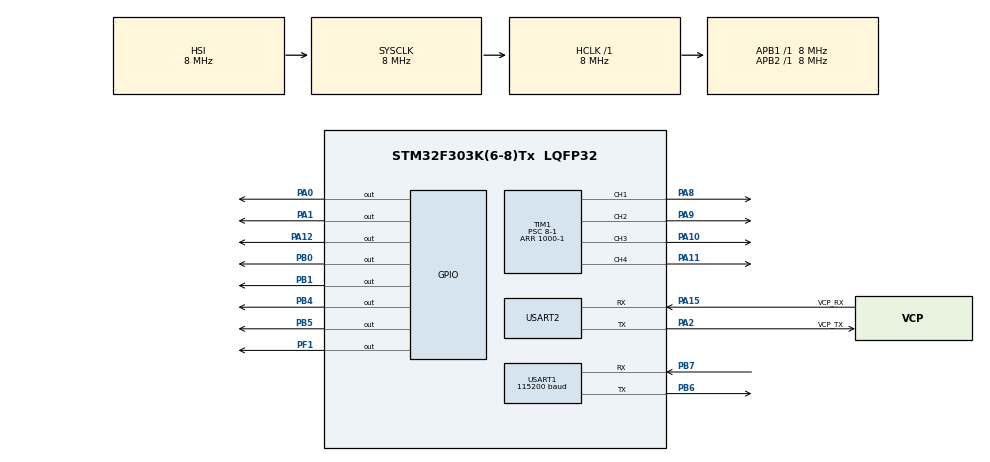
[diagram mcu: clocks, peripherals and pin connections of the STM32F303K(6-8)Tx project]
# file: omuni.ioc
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Dma.Request0=USART1_RX
Dma.USART1_RX.0.Direction=DMA_PERIPH_TO_MEMORY
Dma.USART1_RX.0.Instance=DMA1_Channel5
Dma.USART1_RX.0.MemDataAlignment=DMA_MDATAALIGN_BYTE
Dma.USART1_RX.0.MemInc=DMA_MINC_ENABLE
Dma.USART1_RX.0.Mode=DMA_CIRCULAR
Dma.USART1_RX.0.PeriphDataAlignment=DMA_PDATAALIGN_BYTE
Dma.USART1_RX.0.PeriphInc=DMA_PINC_DISABLE
Dma.USART1_RX.0.Priority=DMA_PRIORITY_LOW
Mcu.Family=STM32F3
Mcu.Name=STM32F303K(6-8)Tx
Mcu.Package=LQFP32
NVIC.DMA1_Channel5_IRQn=true\:0\:0\:false\:false\:true\:false\:true\:true
NVIC.PriorityGroup=NVIC_PRIORITYGROUP_4
PA0.Signal=GPIO_Output
PA1.Signal=GPIO_Output
PA10.Signal=S_TIM1_CH3
PA11.Signal=S_TIM1_CH4
PA12.Signal=GPIO_Output
PA13.GPIO_Label=SWDIO
PA13.Mode=Serial_Wire
PA13.Signal=SYS_JTMS-SWDIO
PA14.GPIO_Label=SWCLK
PA14.Mode=Serial_Wire
PA14.Signal=SYS_JTCK-SWCLK
PA15.GPIO_Label=VCP_RX
PA15.Mode=Asynchronous
PA15.Signal=USART2_RX
PA2.GPIO_Label=VCP_TX
PA2.Mode=Asynchronous
PA2.Signal=USART2_TX
PA8.Signal=S_TIM1_CH1
PA9.Signal=S_TIM1_CH2
PB0.Signal=GPIO_Output
PB1.Signal=GPIO_Output
PB4.Signal=GPIO_Output
PB5.Signal=GPIO_Output
PB6.Mode=Asynchronous
PB6.Signal=USART1_TX
PB7.Mode=Asynchronous
PB7.Signal=USART1_RX
PF0\ /\ OSC_IN.GPIO_Label=MCO
PF0\ /\ OSC_IN.Mode=HSE-External-Clock-Source
PF0\ /\ OSC_IN.Signal=RCC_OSC_IN
PF1\ /\ OSC_OUT.Signal=GPIO_Output
ProjectManager.HeapSize=0x200
ProjectManager.StackSize=0x400
ProjectManager.TargetToolchain=STM32CubeIDE
RCC.AHBFreq_Value=8000000
RCC.APB1Freq_Value=8000000
RCC.APB2Freq_Value=8000000
RCC.CortexFreq_Value=8000000
RCC.HSE_VALUE=8000000
RCC.HSI_VALUE=8000000
RCC.SYSCLKFreq_VALUE=8000000
SH.S_TIM1_CH1.0=TIM1_CH1,PWM Generation1 CH1
SH.S_TIM1_CH2.0=TIM1_CH2,PWM Generation2 CH2
SH.S_TIM1_CH3.0=TIM1_CH3,PWM Generation3 CH3
SH.S_TIM1_CH4.0=TIM1_CH4,PWM Generation4 CH4
TIM1.Channel-PWM\ Generation1\ CH1=TIM_CHANNEL_1
TIM1.Channel-PWM\ Generation2\ CH2=TIM_CHANNEL_2
TIM1.Channel-PWM\ Generation3\ CH3=TIM_CHANNEL_3
TIM1.Channel-PWM\ Generation4\ CH4=TIM_CHANNEL_4
TIM1.Period=1000-1
TIM1.Prescaler=8-1
USART1.BaudRate=115200
USART1.VirtualMode-Asynchronous=VM_ASYNC
USART2.VirtualMode-Asynchronous=VM_ASYNC
board=NUCLEO-F303K8

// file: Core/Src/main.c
/* USER CODE BEGIN Header */
/**
 ******************************************************************************
 * @file           : main.c
 * @brief          : Main program body
 ******************************************************************************
 * @attention
 *
 * Copyright (c) 2024 STMicroelectronics.
 * All rights reserved.
 *
 * This software is licensed under terms that can be found in the LICENSE file
 * in the root directory of this software component.
 * If no LICENSE file comes with this software, it is provided AS-IS.
 *
 ******************************************************************************
 */
/* USER CODE END Header */
#include "main.h"
#include<math.h>

/* USER CODE BEGIN Includes */
#include "uart.h"
/* USER CODE END Includes */

TIM_HandleTypeDef htim1;

UART_HandleTypeDef huart1;
UART_HandleTypeDef huart2;
DMA_HandleTypeDef hdma_usart1_rx;

void SystemClock_Config(void);
static void MX_GPIO_Init(void);
static void MX_DMA_Init(void);
static void MX_USART2_UART_Init(void);
static void MX_TIM1_Init(void);
static void MX_USART1_UART_Init(void);

int main(void) {

	/* MCU Configuration--------------------------------------------------------*/

	/* Reset of all peripherals, Initializes the Flash interface and the Systick. */
	HAL_Init();

	/* Configure the system clock */
	SystemClock_Config();

	/* Initialize all configured peripherals */
	MX_GPIO_Init();
	MX_DMA_Init();
	MX_USART2_UART_Init();
	MX_TIM1_Init();
	MX_USART1_UART_Init();
	/* USER CODE BEGIN 2 */
	struct Uart uart1 = { &huart1 };
	uart_init(&uart1);
	/* USER CODE END 2 */

	/* Infinite loop */
	/* USER CODE BEGIN WHILE */
	HAL_TIM_PWM_Start(&htim1, TIM_CHANNEL_1);
	HAL_TIM_PWM_Start(&htim1, TIM_CHANNEL_2);
	HAL_TIM_PWM_Start(&htim1, TIM_CHANNEL_3);
	HAL_TIM_PWM_Start(&htim1, TIM_CHANNEL_4);

	double A = 450;
	double B = A * (M_PI / 180);
	double vx = cos(B);
	double vy = sin(B);
	double v1 = ( vx + vy ) * 400;
	double v2 = ( -vx + vy ) * 400;
	double v3 = ( -vx -vy ) * 400;
	double v4 = ( vx -vy ) * 400;
	double zv1 ;
	double zv2 ;
	double zv3 ;
	double zv4 ;

	// V1
	if (v1 > 0) {
	HAL_GPIO_WritePin(GPIOB, GPIO_PIN_4, SET);
	HAL_GPIO_WritePin(GPIOB, GPIO_PIN_5, RESET);
	__HAL_TIM_SET_COMPARE(&htim1, TIM_CHANNEL_1, v1);
	} else if (v1 <= 0) {
	zv1 =fabs( v1 );
	HAL_GPIO_WritePin(GPIOB, GPIO_PIN_4, RESET);
	HAL_GPIO_WritePin(GPIOB, GPIO_PIN_5, SET);
	__HAL_TIM_SET_COMPARE(&htim1, TIM_CHANNEL_1, zv1);
	}
	// V2
	if (v2 > 0) {
	HAL_GPIO_WritePin(GPIOA, GPIO_PIN_1, RESET);
	HAL_GPIO_WritePin(GPIOA, GPIO_PIN_0, SET);
	__HAL_TIM_SET_COMPARE(&htim1, TIM_CHANNEL_4, v2);
	} else if (v2 <= 0) {
	zv2 =fabs( v2 );
	HAL_GPIO_WritePin(GPIOA, GPIO_PIN_1, SET);
	HAL_GPIO_WritePin(GPIOA, GPIO_PIN_0, RESET);
	__HAL_TIM_SET_COMPARE(&htim1, TIM_CHANNEL_4, zv2);
	}
	// V3
	if (v3 > 0) {
	HAL_GPIO_WritePin(GPIOB, GPIO_PIN_0, SET);
	HAL_GPIO_WritePin(GPIOA, GPIO_PIN_12, RESET);
	__HAL_TIM_SET_COMPARE(&htim1, TIM_CHANNEL_3, v3);
	} else if (v3 <= 0) {
	zv3 =fabs( v3 );
	HAL_GPIO_WritePin(GPIOB, GPIO_PIN_0, RESET);
	HAL_GPIO_WritePin(GPIOA, GPIO_PIN_12, SET);
	__HAL_TIM_SET_COMPARE(&htim1, TIM_CHANNEL_3, zv3);
	}
	// V4
	if (v4 > 0) {
	HAL_GPIO_WritePin(GPIOB, GPIO_PIN_1, RESET);
	HAL_GPIO_WritePin(GPIOF, GPIO_PIN_1, SET);
	__HAL_TIM_SET_COMPARE(&htim1, TIM_CHANNEL_2, v4);
	} else if (v4 <= 0) {
	zv4 =fabs( v4 );
	HAL_GPIO_WritePin(GPIOB, GPIO_PIN_1, SET);
	HAL_GPIO_WritePin(GPIOF, GPIO_PIN_1, RESET);
	__HAL_TIM_SET_COMPARE(&htim1, TIM_CHANNEL_2, zv4);
	}

	}
	/* USER CODE END WHILE */

void SystemClock_Config(void) {
	RCC_OscInitTypeDef RCC_OscInitStruct = { 0 };
	RCC_ClkInitTypeDef RCC_ClkInitStruct = { 0 };
	RCC_PeriphCLKInitTypeDef PeriphClkInit = { 0 };

	/** Initializes the RCC Oscillators according to the specified parameters
	 * in the RCC_OscInitTypeDef structure.
	 */
	RCC_OscInitStruct.OscillatorType = RCC_OSCILLATORTYPE_HSI;
	RCC_OscInitStruct.HSIState = RCC_HSI_ON;
	RCC_OscInitStruct.HSICalibrationValue = RCC_HSICALIBRATION_DEFAULT;
	RCC_OscInitStruct.PLL.PLLState = RCC_PLL_NONE;
	if (HAL_RCC_OscConfig(&RCC_OscInitStruct) != HAL_OK) {
		Error_Handler();
	}

	/** Initializes the CPU, AHB and APB buses clocks
	 */
	RCC_ClkInitStruct.ClockType = RCC_CLOCKTYPE_HCLK | RCC_CLOCKTYPE_SYSCLK
			| RCC_CLOCKTYPE_PCLK1 | RCC_CLOCKTYPE_PCLK2;
	RCC_ClkInitStruct.SYSCLKSource = RCC_SYSCLKSOURCE_HSI;
	RCC_ClkInitStruct.AHBCLKDivider = RCC_SYSCLK_DIV1;
	RCC_ClkInitStruct.APB1CLKDivider = RCC_HCLK_DIV1;
	RCC_ClkInitStruct.APB2CLKDivider = RCC_HCLK_DIV1;

	if (HAL_RCC_ClockConfig(&RCC_ClkInitStruct, FLASH_LATENCY_0) != HAL_OK) {
		Error_Handler();
	}
	PeriphClkInit.PeriphClockSelection = RCC_PERIPHCLK_USART1
			| RCC_PERIPHCLK_TIM1;
	PeriphClkInit.Usart1ClockSelection = RCC_USART1CLKSOURCE_PCLK1;
	PeriphClkInit.Tim1ClockSelection = RCC_TIM1CLK_HCLK;
	if (HAL_RCCEx_PeriphCLKConfig(&PeriphClkInit) != HAL_OK) {
		Error_Handler();
	}
}

static void MX_TIM1_Init(void) {

	TIM_MasterConfigTypeDef sMasterConfig = { 0 };
	TIM_OC_InitTypeDef sConfigOC = { 0 };
	TIM_BreakDeadTimeConfigTypeDef sBreakDeadTimeConfig = { 0 };

	htim1.Instance = TIM1;
	htim1.Init.Prescaler = 8 - 1;
	htim1.Init.CounterMode = TIM_COUNTERMODE_UP;
	htim1.Init.Period = 1000 - 1;
	htim1.Init.ClockDivision = TIM_CLOCKDIVISION_DIV1;
	htim1.Init.RepetitionCounter = 0;
	htim1.Init.AutoReloadPreload = TIM_AUTORELOAD_PRELOAD_DISABLE;
	if (HAL_TIM_PWM_Init(&htim1) != HAL_OK) {
		Error_Handler();
	}
	sMasterConfig.MasterOutputTrigger = TIM_TRGO_RESET;
	sMasterConfig.MasterOutputTrigger2 = TIM_TRGO2_RESET;
	sMasterConfig.MasterSlaveMode = TIM_MASTERSLAVEMODE_DISABLE;
	if (HAL_TIMEx_MasterConfigSynchronization(&htim1, &sMasterConfig)
			!= HAL_OK) {
		Error_Handler();
	}
	sConfigOC.OCMode = TIM_OCMODE_PWM1;
	sConfigOC.Pulse = 0;
	sConfigOC.OCPolarity = TIM_OCPOLARITY_HIGH;
	sConfigOC.OCNPolarity = TIM_OCNPOLARITY_HIGH;
	sConfigOC.OCFastMode = TIM_OCFAST_DISABLE;
	sConfigOC.OCIdleState = TIM_OCIDLESTATE_RESET;
	sConfigOC.OCNIdleState = TIM_OCNIDLESTATE_RESET;
	if (HAL_TIM_PWM_ConfigChannel(&htim1, &sConfigOC, TIM_CHANNEL_1)
			!= HAL_OK) {
		Error_Handler();
	}
	if (HAL_TIM_PWM_ConfigChannel(&htim1, &sConfigOC, TIM_CHANNEL_2)
			!= HAL_OK) {
		Error_Handler();
	}
	if (HAL_TIM_PWM_ConfigChannel(&htim1, &sConfigOC, TIM_CHANNEL_3)
			!= HAL_OK) {
		Error_Handler();
	}
	if (HAL_TIM_PWM_ConfigChannel(&htim1, &sConfigOC, TIM_CHANNEL_4)
			!= HAL_OK) {
		Error_Handler();
	}
	sBreakDeadTimeConfig.OffStateRunMode = TIM_OSSR_DISABLE;
	sBreakDeadTimeConfig.OffStateIDLEMode = TIM_OSSI_DISABLE;
	sBreakDeadTimeConfig.LockLevel = TIM_LOCKLEVEL_OFF;
	sBreakDeadTimeConfig.DeadTime = 0;
	sBreakDeadTimeConfig.BreakState = TIM_BREAK_DISABLE;
	sBreakDeadTimeConfig.BreakPolarity = TIM_BREAKPOLARITY_HIGH;
	sBreakDeadTimeConfig.BreakFilter = 0;
	sBreakDeadTimeConfig.Break2State = TIM_BREAK2_DISABLE;
	sBreakDeadTimeConfig.Break2Polarity = TIM_BREAK2POLARITY_HIGH;
	sBreakDeadTimeConfig.Break2Filter = 0;
	sBreakDeadTimeConfig.AutomaticOutput = TIM_AUTOMATICOUTPUT_DISABLE;
	if (HAL_TIMEx_ConfigBreakDeadTime(&htim1, &sBreakDeadTimeConfig)
			!= HAL_OK) {
		Error_Handler();
	}
	HAL_TIM_MspPostInit(&htim1);

}

static void MX_USART1_UART_Init(void) {

	huart1.Instance = USART1;
	huart1.Init.BaudRate = 115200;
	huart1.Init.WordLength = UART_WORDLENGTH_8B;
	huart1.Init.StopBits = UART_STOPBITS_1;
	huart1.Init.Parity = UART_PARITY_NONE;
	huart1.Init.Mode = UART_MODE_TX_RX;
	huart1.Init.HwFlowCtl = UART_HWCONTROL_NONE;
	huart1.Init.OverSampling = UART_OVERSAMPLING_16;
	huart1.Init.OneBitSampling = UART_ONE_BIT_SAMPLE_DISABLE;
	huart1.AdvancedInit.AdvFeatureInit = UART_ADVFEATURE_NO_INIT;
	if (HAL_UART_Init(&huart1) != HAL_OK) {
		Error_Handler();
	}

}

static void MX_USART2_UART_Init(void) {

	huart2.Instance = USART2;
	huart2.Init.BaudRate = 38400;
	huart2.Init.WordLength = UART_WORDLENGTH_8B;
	huart2.Init.StopBits = UART_STOPBITS_1;
	huart2.Init.Parity = UART_PARITY_NONE;
	huart2.Init.Mode = UART_MODE_TX_RX;
	huart2.Init.HwFlowCtl = UART_HWCONTROL_NONE;
	huart2.Init.OverSampling = UART_OVERSAMPLING_16;
	huart2.Init.OneBitSampling = UART_ONE_BIT_SAMPLE_DISABLE;
	huart2.AdvancedInit.AdvFeatureInit = UART_ADVFEATURE_NO_INIT;
	if (HAL_UART_Init(&huart2) != HAL_OK) {
		Error_Handler();
	}

}

static void MX_DMA_Init(void) {

	/* DMA controller clock enable */
	__HAL_RCC_DMA1_CLK_ENABLE();

	/* DMA interrupt init */
	/* DMA1_Channel5_IRQn interrupt configuration */
	HAL_NVIC_SetPriority(DMA1_Channel5_IRQn, 0, 0);
	HAL_NVIC_EnableIRQ(DMA1_Channel5_IRQn);

}

static void MX_GPIO_Init(void) {
	GPIO_InitTypeDef GPIO_InitStruct = { 0 };

	/* GPIO Ports Clock Enable */
	__HAL_RCC_GPIOF_CLK_ENABLE();
	__HAL_RCC_GPIOA_CLK_ENABLE();
	__HAL_RCC_GPIOB_CLK_ENABLE();

	/*Configure GPIO pin Output Level */
	HAL_GPIO_WritePin(GPIOF, GPIO_PIN_1, GPIO_PIN_RESET);

	/*Configure GPIO pin Output Level */
	HAL_GPIO_WritePin(GPIOA, GPIO_PIN_0 | GPIO_PIN_1 | GPIO_PIN_12,
			GPIO_PIN_RESET);

	/*Configure GPIO pin Output Level */
	HAL_GPIO_WritePin(GPIOB, GPIO_PIN_0 | GPIO_PIN_1 | GPIO_PIN_4 | GPIO_PIN_5,
			GPIO_PIN_RESET);

	/*Configure GPIO pin : PF1 */
	GPIO_InitStruct.Pin = GPIO_PIN_1;
	GPIO_InitStruct.Mode = GPIO_MODE_OUTPUT_PP;
	GPIO_InitStruct.Pull = GPIO_NOPULL;
	GPIO_InitStruct.Speed = GPIO_SPEED_FREQ_LOW;
	HAL_GPIO_Init(GPIOF, &GPIO_InitStruct);

	/*Configure GPIO pins : PA0 PA1 PA12 */
	GPIO_InitStruct.Pin = GPIO_PIN_0 | GPIO_PIN_1 | GPIO_PIN_12;
	GPIO_InitStruct.Mode = GPIO_MODE_OUTPUT_PP;
	GPIO_InitStruct.Pull = GPIO_NOPULL;
	GPIO_InitStruct.Speed = GPIO_SPEED_FREQ_LOW;
	HAL_GPIO_Init(GPIOA, &GPIO_InitStruct);

	/*Configure GPIO pins : PB0 PB1 PB4 PB5 */
	GPIO_InitStruct.Pin = GPIO_PIN_0 | GPIO_PIN_1 | GPIO_PIN_4 | GPIO_PIN_5;
	GPIO_InitStruct.Mode = GPIO_MODE_OUTPUT_PP;
	GPIO_InitStruct.Pull = GPIO_NOPULL;
	GPIO_InitStruct.Speed = GPIO_SPEED_FREQ_LOW;
	HAL_GPIO_Init(GPIOB, &GPIO_InitStruct);

}

void Error_Handler(void) {
	__disable_irq();
	while (1) {
	}
}
